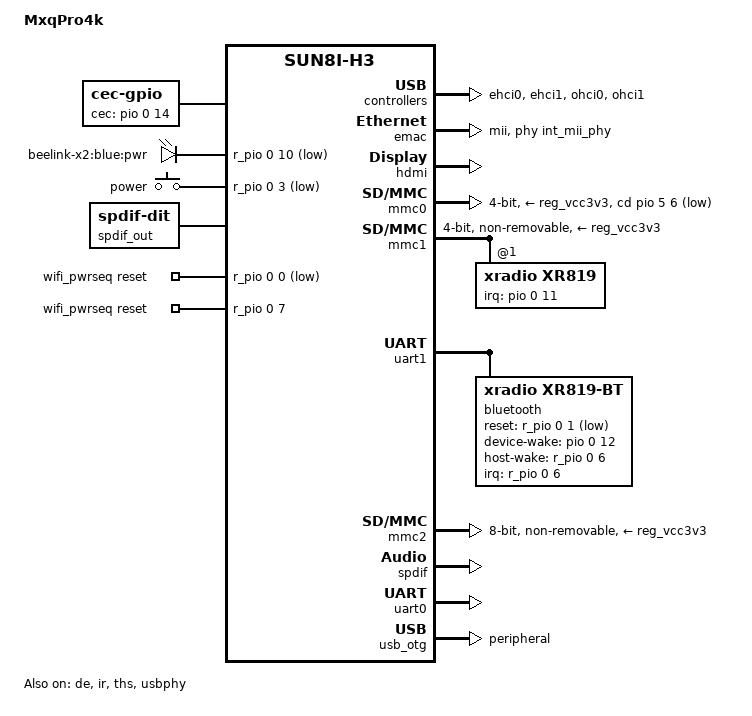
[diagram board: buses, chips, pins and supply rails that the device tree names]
/*
 * Copyright (C) 2017 Marcus Cooper <codekipper@gmail.com>
 *
 * This file is dual-licensed: you can use it either under the terms
 * of the GPL or the X11 license, at your option. Note that this dual
 * licensing only applies to this file, and not this project as a
 * whole.
 *
 *  a) This file is free software; you can redistribute it and/or
 *     modify it under the terms of the GNU General Public License as
 *     published by the Free Software Foundation; either version 2 of the
 *     License, or (at your option) any later version.
 *
 *     This file is distributed in the hope that it will be useful,
 *     but WITHOUT ANY WARRANTY; without even the implied warranty of
 *     MERCHANTABILITY or FITNESS FOR A PARTICULAR PURPOSE.  See the
 *     GNU General Public License for more details.
 *
 * Or, alternatively,
 *
 *  b) Permission is hereby granted, free of charge, to any person
 *     obtaining a copy of this software and associated documentation
 *     files (the "Software"), to deal in the Software without
 *     restriction, including without limitation the rights to use,
 *     copy, modify, merge, publish, distribute, sublicense, and/or
 *     sell copies of the Software, and to permit persons to whom the
 *     Software is furnished to do so, subject to the following
 *     conditions:
 *
 *     The above copyright notice and this permission notice shall be
 *     included in all copies or substantial portions of the Software.
 *
 *     THE SOFTWARE IS PROVIDED "AS IS", WITHOUT WARRANTY OF ANY KIND,
 *     EXPRESS OR IMPLIED, INCLUDING BUT NOT LIMITED TO THE WARRANTIES
 *     OF MERCHANTABILITY, FITNESS FOR A PARTICULAR PURPOSE AND
 *     NONINFRINGEMENT. IN NO EVENT SHALL THE AUTHORS OR COPYRIGHT
 *     HOLDERS BE LIABLE FOR ANY CLAIM, DAMAGES OR OTHER LIABILITY,
 *     WHETHER IN AN ACTION OF CONTRACT, TORT OR OTHERWISE, ARISING
 *     FROM, OUT OF OR IN CONNECTION WITH THE SOFTWARE OR THE USE OR
 *     OTHER DEALINGS IN THE SOFTWARE.
 */

/dts-v1/;
#include "sun8i-h3.dtsi"
#include "sunxi-common-regulators.dtsi"

#include <dt-bindings/gpio/gpio.h>
#include <dt-bindings/input/input.h>

/ {
	model = "MxqPro4k";
	compatible = "roofull,beelink-x2", "allwinner,sun8i-h3";

	aliases {
		serial0 = &uart0;
		ethernet0 = &emac;
		ethernet1 = &xr819; 
	};

	cec {
		compatible = "cec-gpio";
		cec-gpios = <&pio 0 14 (GPIO_ACTIVE_HIGH|GPIO_OPEN_DRAIN)>; /* PA14 */
		hdmi-phandle = <&hdmi>;
	};

	chosen {
		stdout-path = "serial0:115200n8";
	};

	connector {
		type = "a";

		port {
			hdmi_con_in: endpoint {
				remote-endpoint = <&hdmi_out_con>;
			};
		};
	};

	leds {
		compatible = "gpio-leds";

		led-0 {
			label = "beelink-x2:blue:pwr";
			gpios = <&r_pio 0 10 GPIO_ACTIVE_LOW>; 
			default-state = "on";
			linux,default-trigger = "netdev";
		
		};
		
	};

	gpio-keys {
		compatible = "gpio-keys";

		key-power {
			label = "power";
			linux,code = <KEY_POWER>;
			gpios = <&r_pio 0 3 GPIO_ACTIVE_LOW>;
			wakeup-source;
		};
	};

	sound_spdif {
		compatible = "simple-audio-card";
		simple-audio-card,name = "On-board SPDIF";

		simple-audio-card,cpu {
			sound-dai = <&spdif>;
		};

		simple-audio-card,codec {
			sound-dai = <&spdif_out>;
		};
	};

	spdif_out: spdif-out {
		#sound-dai-cells = <0>;
		compatible = "linux,spdif-dit";
	};

	wifi_pwrseq: wifi_pwrseq {
   		 compatible = "mmc-pwrseq-simple";
    		/* WLAN_EN : GPIO 352 = PL0 */
    		/* WLAN_REG_ON : GPIO 359 = PL7 */
    		reset-gpios =   <&r_pio 0 0 GPIO_ACTIVE_LOW>, /* PL0 */
                  		<&r_pio 0 7 GPIO_ACTIVE_HIGH>; /* PL7 */
                    /* Le lien avec l'horloge que vous avez vue dans le log */
        	clocks = <&rtc CLK_OSC32K_FANOUT>;    	
    		clock-names = "ext_clock";
    		post-power-on-delay-ms = <500>;
	};
	
};

&de {
	status = "okay";
};

&ehci0 {
	status = "okay";
};

&ehci1 {
	status = "okay";
};

&emac {
	phy-handle = <&int_mii_phy>;
	phy-mode = "mii";
	allwinner,leds-active-low;
	status = "okay";
};

&hdmi {
	status = "okay";
};

&hdmi_out {
	hdmi_out_con: endpoint {
		remote-endpoint = <&hdmi_con_in>;
	};
};

&ir {
	linux,rc-map-name = "rc-tanix-tx3mini";
	pinctrl-names = "default";
	pinctrl-0 = <&r_ir_rx_pin>;
	status = "okay";
};

&mmc0 {
	pinctrl-names = "default";
	pinctrl-0 = <&mmc0_pins>;
	vmmc-supply = <&reg_vcc3v3>;
	bus-width = <4>;
	cd-gpios = <&pio 5 6 GPIO_ACTIVE_HIGH>;
	cd-inverted;
	status = "okay";
};

&mmc1 {
	vmmc-supply = <&reg_vcc3v3>;
	vqmmc-supply = <&reg_vcc3v3>;
	mmc-pwrseq = <&wifi_pwrseq>;
	bus-width = <4>;
	non-removable;
	status = "okay";
 
    	max-frequency = <20000000>;
    	keep-power-in-suspend;
    	cap-sdio-powersave;
    	post-power-on-delay-ms = <500>;
	xr819: sdio_wifi@1 {
		reg = <1>;
		compatible = "xradio,xr819";
		interrupt-parent = <&pio>;
		interrupts = <0 11 IRQ_TYPE_EDGE_RISING>;
		interrupt-names = "host-wake";
	};
};

&uart1 {
    pinctrl-names = "default";
    pinctrl-0 = <&uart1_pins>, <&uart1_rts_cts_pins>;
    uart-has-rtscts;
    status = "okay";

    bluetooth {
        compatible = "xradio,xr819-bt";
        
        /* PL1 (0x86, banque 0, pin 1) */
        /* Testez GPIO_ACTIVE_HIGH si le BT ne s'allume pas */
        reset-gpios = <&r_pio 0 1 GPIO_ACTIVE_LOW>;
    
        /* PA12 (0x5e, banque 0, pin 12) */
        device-wake-gpios = <&pio 0 12 GPIO_ACTIVE_HIGH>;
        
        /* PL6 (0x86, banque 0, pin 6) */
        host-wake-gpios = <&r_pio 0 6 GPIO_ACTIVE_HIGH>;

        /* L'horloge 32kHz est aussi nécessaire pour le Bluetooth */
        clocks = <&rtc CLK_OSC32K_FANOUT>;
        clock-names = "lpo";
                
        /* Interruption HostWake (optionnel selon le pilote) */
        interrupt-parent = <&r_pio>;
        interrupts = <0 6 IRQ_TYPE_EDGE_RISING>; /* PL6 */
    };
};

&mmc2 {
	pinctrl-names = "default";
	pinctrl-0 = <&mmc2_8bit_pins>;
	vmmc-supply = <&reg_vcc3v3>;
	bus-width = <8>;
	non-removable;
	cap-mmc-hw-reset;
	status = "okay";
};

&ohci0 {
	status = "okay";
};

&ohci1 {
	status = "okay";
};

&ths {
    status = "okay";
};

&spdif {
	pinctrl-names = "default";
	pinctrl-0 = <&spdif_tx_pin>;
	status = "okay";
};

&uart0 {
	pinctrl-names = "default";
	pinctrl-0 = <&uart0_pa_pins>;
	status = "okay";
};

&usb_otg {
	dr_mode = "peripheral";
	status = "okay";
};

&usbphy {

	status = "okay";
	usb0_id_det-gpios = <&pio 0 7 GPIO_ACTIVE_HIGH>; 
};
